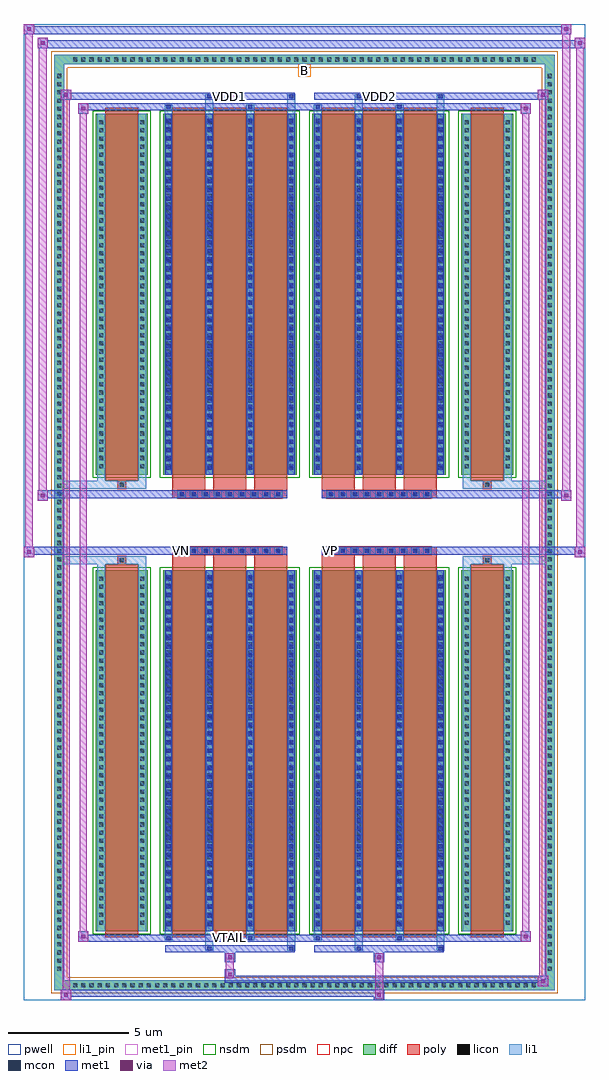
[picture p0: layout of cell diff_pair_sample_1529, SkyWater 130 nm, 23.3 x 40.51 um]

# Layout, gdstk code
import gdstk
lib = gdstk.Library(unit=1e-6, precision=5e-09)
def R(c, l, rs):  # rectangles x0, y0, x1, y1
    for r in rs: c.add(gdstk.rectangle(r[:2], r[2:], *l))
def A(c, l, x, y, w, h, nx, ny, dx, dy):  # array of equal rectangles
    R(c, l, [(x+i*dx, y+j*dy, x+i*dx+w, y+j*dy+h) for i in range(nx) for j in range(ny)])
def P(c, l, *ps):  # polygons
    for p in ps: c.add(gdstk.Polygon(p, *l))
pwell = (64, 44)
diff = (65, 20)
poly = (66, 20)
licon = (66, 44)
li1_pin = (67, 16)
li1 = (67, 20)
mcon = (67, 44)
met1_pin = (68, 16)
met1 = (68, 20)
via = (68, 44)
met2 = (69, 20)
nsdm = (93, 44)
psdm = (94, 20)
npc = (95, 20)

diff_pair_sample_1529 = lib.new_cell('diff_pair_sample_1529')
R(diff_pair_sample_1529, pwell, [(-11.65,-19.82,11.65,20.69), (-8.97,-18.01,-0.01,-0.805), (0.01,-18.01,8.97,-0.805), (-8.97,0.805,-0.01,18.01), (0.01,0.805,8.97,18.01)])
A(diff_pair_sample_1529, diff, -9.725, -19.42, 0.41, 0.41, 57, 2, 0.34, 38.43)
A(diff_pair_sample_1529, diff, -10.38, -18.735, 0.41, 0.41, 1, 110, 0, 0.34)
A(diff_pair_sample_1529, diff, 9.97, -18.735, 0.41, 0.41, 1, 110, 0, 0.34)
R(diff_pair_sample_1529, diff, [(-9.725,-19.42,9.725,-19.01), (-10.38,-18.735,-9.97,18.735), (9.97,-18.735,10.38,18.735), (-8.66,-16.965,-6.51,-1.985), (-5.87,-16.965,-0.32,-1.985), (0.32,-16.965,5.87,-1.985), (6.51,-16.965,8.66,-1.985), (-8.66,1.985,-6.51,16.965), (-5.87,1.985,-0.32,16.965), (0.32,1.985,5.87,16.965), (6.51,1.985,8.66,16.965), (-9.725,19.01,9.725,19.42)])
P(diff_pair_sample_1529, diff, [(10.38,19.42),(-10.38,19.42),(-10.38,-19.01),(-9.97,-19.01),(-9.97,19.01),(9.97,19.01),(9.97,-19.01),(-9.97,-19.01),(-10.38,-19.01),(-10.38,-19.42),(10.38,-19.42)])
A(diff_pair_sample_1529, poly, -5.48, -17.215, 1.37, 15.48, 3, 2, 1.7, 18.95)
A(diff_pair_sample_1529, poly, 0.71, -17.215, 1.37, 15.48, 3, 2, 1.7, 18.95)
A(diff_pair_sample_1529, poly, -5.48, -1.735, 1.37, 0.4, 3, 2, 1.7, 3.07)
A(diff_pair_sample_1529, poly, 0.71, -1.735, 1.37, 0.4, 3, 2, 1.7, 3.07)
A(diff_pair_sample_1529, poly, -5.26, -1.335, 0.33, 0.33, 9, 2, 0.5, 2.34)
A(diff_pair_sample_1529, poly, 0.93, -1.335, 0.33, 0.33, 9, 2, 0.5, 2.34)
R(diff_pair_sample_1529, poly, [(-8.27,-17.215,-6.9,-1.735), (6.9,-17.215,8.27,-1.735), (-7.75,-1.735,-7.42,-1.405), (-7.75,-1.735,-7.42,-1.405), (7.42,-1.735,7.75,-1.405), (7.42,-1.735,7.75,-1.405), (-5.48,-1.335,-0.71,-1.005), (0.71,-1.335,5.48,-1.005), (-5.48,1.005,-0.71,1.335), (0.71,1.005,5.48,1.335), (-7.75,1.405,-7.42,1.735), (-7.75,1.405,-7.42,1.735), (7.42,1.405,7.75,1.735), (7.42,1.405,7.75,1.735), (-8.27,1.735,-6.9,17.215), (6.9,1.735,8.27,17.215)])
A(diff_pair_sample_1529, licon, -9.605, -19.3, 0.17, 0.17, 57, 2, 0.34, 38.43)
A(diff_pair_sample_1529, licon, -10.26, -18.615, 0.17, 0.17, 1, 110, 0, 0.34)
A(diff_pair_sample_1529, licon, 10.09, -18.615, 0.17, 0.17, 1, 110, 0, 0.34)
A(diff_pair_sample_1529, licon, -8.52, -16.7, 0.17, 0.17, 1, 43, 0, 0.34)
A(diff_pair_sample_1529, licon, -6.82, -16.7, 0.17, 0.17, 1, 43, 0, 0.34)
A(diff_pair_sample_1529, licon, -5.73, -16.7, 0.17, 0.17, 4, 43, 1.7, 0.34)
A(diff_pair_sample_1529, licon, 0.46, -16.7, 0.17, 0.17, 4, 43, 1.7, 0.34)
A(diff_pair_sample_1529, licon, 6.65, -16.7, 0.17, 0.17, 1, 43, 0, 0.34)
A(diff_pair_sample_1529, licon, 8.35, -16.7, 0.17, 0.17, 1, 43, 0, 0.34)
A(diff_pair_sample_1529, licon, -5.18, -1.255, 0.17, 0.17, 9, 2, 0.5, 2.34)
A(diff_pair_sample_1529, licon, 1.01, -1.255, 0.17, 0.17, 9, 2, 0.5, 2.34)
A(diff_pair_sample_1529, licon, -8.52, 2.25, 0.17, 0.17, 1, 43, 0, 0.34)
A(diff_pair_sample_1529, licon, -6.82, 2.25, 0.17, 0.17, 1, 43, 0, 0.34)
A(diff_pair_sample_1529, licon, -5.73, 2.25, 0.17, 0.17, 4, 43, 1.7, 0.34)
A(diff_pair_sample_1529, licon, 0.46, 2.25, 0.17, 0.17, 4, 43, 1.7, 0.34)
A(diff_pair_sample_1529, licon, 6.65, 2.25, 0.17, 0.17, 1, 43, 0, 0.34)
A(diff_pair_sample_1529, licon, 8.35, 2.25, 0.17, 0.17, 1, 43, 0, 0.34)
R(diff_pair_sample_1529, licon, [(-7.67,-1.655,-7.5,-1.485), (7.5,-1.655,7.67,-1.485), (-7.67,1.485,-7.5,1.655), (7.5,1.485,7.67,1.655)])
R(diff_pair_sample_1529, li1_pin, [(-0.25,18.51,0.25,19.01)])
A(diff_pair_sample_1529, li1, -9.685, -19.38, 0.33, 0.33, 57, 2, 0.34, 38.43)
A(diff_pair_sample_1529, li1, -10.34, -18.695, 0.33, 0.33, 1, 110, 0, 0.34)
A(diff_pair_sample_1529, li1, 10.01, -18.695, 0.33, 0.33, 1, 110, 0, 0.34)
A(diff_pair_sample_1529, li1, -5.81, -16.965, 0.33, 14.98, 4, 2, 1.7, 18.95)
A(diff_pair_sample_1529, li1, 0.38, -16.965, 0.33, 14.98, 4, 2, 1.7, 18.95)
A(diff_pair_sample_1529, li1, -8.6, -16.78, 0.33, 0.33, 1, 43, 0, 0.34)
A(diff_pair_sample_1529, li1, -6.9, -16.78, 0.33, 0.33, 1, 43, 0, 0.34)
A(diff_pair_sample_1529, li1, -5.81, -16.78, 0.33, 0.33, 4, 43, 1.7, 0.34)
A(diff_pair_sample_1529, li1, 0.38, -16.78, 0.33, 0.33, 4, 43, 1.7, 0.34)
A(diff_pair_sample_1529, li1, 6.57, -16.78, 0.33, 0.33, 1, 43, 0, 0.34)
A(diff_pair_sample_1529, li1, 8.27, -16.78, 0.33, 0.33, 1, 43, 0, 0.34)
A(diff_pair_sample_1529, li1, -5.73, -16.76, 0.17, 0.17, 4, 41, 1.7, 0.36)
A(diff_pair_sample_1529, li1, -5.73, -16.76, 0.17, 14.57, 4, 2, 1.7, 18.95)
A(diff_pair_sample_1529, li1, 0.46, -16.76, 0.17, 0.17, 4, 41, 1.7, 0.36)
A(diff_pair_sample_1529, li1, 0.46, -16.76, 0.17, 14.57, 4, 2, 1.7, 18.95)
A(diff_pair_sample_1529, li1, -5.26, -1.335, 0.33, 0.33, 9, 2, 0.5, 2.34)
A(diff_pair_sample_1529, li1, 0.93, -1.335, 0.33, 0.33, 9, 2, 0.5, 2.34)
A(diff_pair_sample_1529, li1, -8.6, 2.17, 0.33, 0.33, 1, 43, 0, 0.34)
A(diff_pair_sample_1529, li1, -6.9, 2.17, 0.33, 0.33, 1, 43, 0, 0.34)
A(diff_pair_sample_1529, li1, -5.81, 2.17, 0.33, 0.33, 4, 43, 1.7, 0.34)
A(diff_pair_sample_1529, li1, 0.38, 2.17, 0.33, 0.33, 4, 43, 1.7, 0.34)
A(diff_pair_sample_1529, li1, 6.57, 2.17, 0.33, 0.33, 1, 43, 0, 0.34)
A(diff_pair_sample_1529, li1, 8.27, 2.17, 0.33, 0.33, 1, 43, 0, 0.34)
A(diff_pair_sample_1529, li1, -5.73, 2.19, 0.17, 0.17, 4, 41, 1.7, 0.36)
A(diff_pair_sample_1529, li1, 0.46, 2.19, 0.17, 0.17, 4, 41, 1.7, 0.36)
R(diff_pair_sample_1529, li1, [(-10.38,-19.42,-9.97,-19.01), (-10.38,-19.42,-9.97,-19.01), (-9.97,-19.42,9.97,-19.01), (9.97,-19.42,10.38,-19.01), (9.97,-19.42,10.38,-19.01), (-10.38,-19.01,-9.97,19.01), (9.97,-19.01,10.38,19.01), (-4.11,-17.77,-3.78,-16.965), (-4.03,-17.77,-3.86,-17.6), (-0.71,-17.77,-0.38,-16.965), (-0.63,-17.77,-0.46,-17.6), (2.08,-17.77,2.41,-16.965), (2.16,-17.77,2.33,-17.6), (5.48,-17.77,5.81,-16.965), (5.56,-17.77,5.73,-17.6), (-5.81,-17.34,-5.48,-16.965), (-5.73,-17.34,-5.56,-17.17), (-2.41,-17.34,-2.08,-16.965), (-2.33,-17.34,-2.16,-17.17), (0.38,-17.34,0.71,-16.965), (0.46,-17.34,0.63,-17.17), (3.78,-17.34,4.11,-16.965), (3.86,-17.34,4.03,-17.17), (-8.6,-16.965,-8.27,-1.985), (-6.9,-16.965,-6.57,-1.985), (6.57,-16.965,6.9,-1.985), (8.27,-16.965,8.6,-1.985), (-8.6,-1.985,-8.27,-1.405), (-6.9,-1.985,-6.57,-1.405), (6.57,-1.985,6.9,-1.405), (8.27,-1.985,8.6,-1.405), (-10.38,-1.735,-7.75,-1.405), (-8.6,-1.735,-7.75,-1.405), (-7.75,-1.735,-7.42,-1.405), (-7.42,-1.735,-6.57,-1.405), (6.57,-1.735,7.42,-1.405), (7.42,-1.735,7.75,-1.405), (7.42,-1.735,10.38,-1.405), (7.75,-1.735,8.6,-1.405), (-10.38,1.405,-7.75,1.735), (-8.6,1.405,-7.75,1.735), (-8.6,1.405,-8.27,1.985), (-7.75,1.405,-7.42,1.735), (-7.42,1.405,-6.57,1.735), (-6.9,1.405,-6.57,1.985), (6.57,1.405,7.42,1.735), (6.57,1.405,6.9,1.985), (7.42,1.405,7.75,1.735), (7.42,1.405,10.38,1.735), (7.75,1.405,8.6,1.735), (8.27,1.405,8.6,1.985), (-8.6,1.985,-8.27,16.965), (-6.9,1.985,-6.57,16.965), (6.57,1.985,6.9,16.965), (8.27,1.985,8.6,16.965), (-5.81,16.965,-5.48,17.34), (-4.11,16.965,-3.78,17.77), (-2.41,16.965,-2.08,17.34), (-0.71,16.965,-0.38,17.77), (0.38,16.965,0.71,17.34), (2.08,16.965,2.41,17.77), (3.78,16.965,4.11,17.34), (5.48,16.965,5.81,17.77), (-5.73,17.17,-5.56,17.34), (-2.33,17.17,-2.16,17.34), (0.46,17.17,0.63,17.34), (3.86,17.17,4.03,17.34), (-4.03,17.6,-3.86,17.77), (-0.63,17.6,-0.46,17.77), (2.16,17.6,2.33,17.77), (5.56,17.6,5.73,17.77), (-10.38,19.01,-9.97,19.42), (-10.38,19.01,-9.97,19.42), (-9.97,19.01,9.97,19.42), (9.97,19.01,10.38,19.42), (9.97,19.01,10.38,19.42)])
A(diff_pair_sample_1529, mcon, -5.73, -16.76, 0.17, 0.17, 4, 41, 1.7, 0.36)
A(diff_pair_sample_1529, mcon, 0.46, -16.76, 0.17, 0.17, 4, 41, 1.7, 0.36)
A(diff_pair_sample_1529, mcon, -5.18, -1.255, 0.17, 0.17, 9, 2, 0.5, 2.34)
A(diff_pair_sample_1529, mcon, 1.01, -1.255, 0.17, 0.17, 9, 2, 0.5, 2.34)
A(diff_pair_sample_1529, mcon, -5.73, 2.19, 0.17, 0.17, 4, 41, 1.7, 0.36)
A(diff_pair_sample_1529, mcon, 0.46, 2.19, 0.17, 0.17, 4, 41, 1.7, 0.36)
R(diff_pair_sample_1529, mcon, [(-4.03,-17.77,-3.86,-17.6), (-0.63,-17.77,-0.46,-17.6), (2.16,-17.77,2.33,-17.6), (5.56,-17.77,5.73,-17.6), (-5.73,-17.34,-5.56,-17.17), (-2.33,-17.34,-2.16,-17.17), (0.46,-17.34,0.63,-17.17), (3.86,-17.34,4.03,-17.17), (-5.73,17.17,-5.56,17.34), (-2.33,17.17,-2.16,17.34), (0.46,17.17,0.63,17.34), (3.86,17.17,4.03,17.34), (-4.03,17.6,-3.86,17.77), (-0.63,17.6,-0.46,17.77), (2.16,17.6,2.33,17.77), (5.56,17.6,5.73,17.77)])
R(diff_pair_sample_1529, met1_pin, [(-3.23,-17.38,-2.96,-17.11), (-5.23,-1.295,-4.96,-1.025), (0.96,-1.295,1.23,-1.025), (-3.23,17.56,-2.96,17.83), (2.96,17.56,3.23,17.83)])
A(diff_pair_sample_1529, met1, -5.79, -16.965, 0.29, 14.98, 4, 2, 1.7, 18.95)
A(diff_pair_sample_1529, met1, 0.4, -16.965, 0.29, 14.98, 4, 2, 1.7, 18.95)
A(diff_pair_sample_1529, met1, -5.79, -16.82, 0.29, 0.29, 4, 41, 1.7, 0.36)
A(diff_pair_sample_1529, met1, 0.4, -16.82, 0.29, 0.29, 4, 41, 1.7, 0.36)
A(diff_pair_sample_1529, met1, -5.24, -1.315, 0.29, 0.29, 9, 2, 0.5, 2.34)
A(diff_pair_sample_1529, met1, 0.95, -1.315, 0.29, 0.29, 9, 2, 0.5, 2.34)
A(diff_pair_sample_1529, met1, -5.79, 2.13, 0.29, 0.29, 4, 41, 1.7, 0.36)
A(diff_pair_sample_1529, met1, 0.4, 2.13, 0.29, 0.29, 4, 41, 1.7, 0.36)
R(diff_pair_sample_1529, met1, [(-10.11,-19.82,-9.68,-19.39), (2.88,-19.82,3.31,-19.39), (-10.11,-19.68,3.31,-19.39), (9.68,-19.25,10.11,-18.82), (-3.31,-19.11,10.11,-18.82), (-3.31,-18.97,-2.88,-18.54), (-3.31,-18.26,-2.88,-17.83), (2.88,-18.26,3.31,-17.83), (-5.79,-17.83,-0.4,-17.54), (-4.09,-17.83,-3.8,-17.54), (-0.69,-17.83,-0.4,-17.54), (0.4,-17.83,5.79,-17.54), (2.1,-17.83,2.39,-17.54), (5.5,-17.83,5.79,-17.54), (-9.4,-17.4,-8.97,-16.97), (-9.4,-17.4,-5.79,-17.11), (-5.79,-17.4,-5.5,-17.11), (-5.79,-17.4,-0.4,-17.11), (-2.39,-17.4,-2.1,-17.11), (-0.4,-17.4,0.4,-17.11), (0.4,-17.4,0.69,-17.11), (0.4,-17.4,5.79,-17.11), (3.8,-17.4,4.09,-17.11), (5.79,-17.4,9.4,-17.11), (8.97,-17.4,9.4,-16.97), (-11.65,-1.435,-11.22,-1.005), (11.22,-1.435,11.65,-1.005), (-11.65,-1.335,-0.71,-1.005), (-5.48,-1.335,-0.71,-1.005), (0.71,-1.335,5.48,-1.005), (0.71,-1.335,11.65,-1.005), (-11.08,0.905,-10.65,1.335), (10.65,0.905,11.08,1.335), (-11.08,1.005,-5.48,1.335), (-5.48,1.005,-0.71,1.335), (0.71,1.005,5.48,1.335), (5.48,1.005,11.08,1.335), (-9.4,16.97,-8.97,17.4), (8.97,16.97,9.4,17.4), (-9.4,17.11,-5.79,17.4), (-5.79,17.11,-5.5,17.4), (-5.79,17.11,-0.4,17.4), (-2.39,17.11,-2.1,17.4), (-0.4,17.11,0.4,17.4), (0.4,17.11,0.69,17.4), (0.4,17.11,5.79,17.4), (3.8,17.11,4.09,17.4), (5.79,17.11,9.4,17.4), (-10.11,17.54,-9.68,17.97), (-10.11,17.54,-5.79,17.83), (-5.79,17.54,-0.4,17.83), (-4.09,17.54,-3.8,17.83), (-0.69,17.54,-0.4,17.83), (0.4,17.54,5.79,17.83), (2.1,17.54,2.39,17.83), (5.5,17.54,5.79,17.83), (5.79,17.54,10.11,17.83), (9.68,17.54,10.11,17.97), (-11.08,19.69,-10.65,20.12), (-11.08,19.69,-8.97,20.02), (-8.97,19.69,8.97,20.02), (8.97,19.69,11.65,20.02), (11.22,19.69,11.65,20.12), (-11.65,20.26,-11.22,20.69), (-11.65,20.26,-8.97,20.59), (-8.97,20.26,8.97,20.59), (8.97,20.26,11.08,20.59), (10.65,20.26,11.08,20.69)])
R(diff_pair_sample_1529, via, [(-9.97,-19.68,-9.82,-19.53), (3.02,-19.68,3.17,-19.53), (9.82,-19.11,9.97,-18.96), (-3.17,-18.83,-3.02,-18.68), (-3.17,-18.12,-3.02,-17.97), (3.02,-18.12,3.17,-17.97), (-9.26,-17.26,-9.11,-17.11), (9.11,-17.26,9.26,-17.11), (-11.51,-1.295,-11.36,-1.145), (11.36,-1.295,11.51,-1.145), (-10.94,1.045,-10.79,1.195), (10.79,1.045,10.94,1.195), (-9.26,17.11,-9.11,17.26), (9.11,17.11,9.26,17.26), (-9.97,17.68,-9.82,17.83), (9.82,17.68,9.97,17.83), (-10.94,19.83,-10.79,19.98), (11.36,19.83,11.51,19.98), (-11.51,20.4,-11.36,20.55), (10.79,20.4,10.94,20.55)])
R(diff_pair_sample_1529, met2, [(-10.11,-19.82,-9.68,-19.39), (-10.04,-19.82,-9.75,17.97), (-9.75,-19.82,-9.68,-19.39), (-10.06,-19.77,-9.73,-19.44), (2.93,-19.77,3.26,-19.44), (2.93,-19.44,3.26,-18.21), (9.68,-19.25,10.11,-18.82), (9.75,-19.25,10.04,17.97), (10.04,-19.25,10.11,-18.82), (9.73,-19.2,10.06,-18.87), (-3.26,-18.92,-2.93,-18.59), (-3.26,-18.59,-2.93,-18.21), (-3.26,-18.21,-2.93,-17.88), (2.93,-18.21,3.26,-17.88), (-9.4,-17.4,-8.97,-16.97), (-9.33,-17.4,-9.04,17.4), (-9.04,-17.4,-8.97,-16.97), (8.97,-17.4,9.4,-16.97), (9.04,-17.4,9.33,17.4), (9.33,-17.4,9.4,-16.97), (-9.35,-17.35,-9.02,-17.02), (9.02,-17.35,9.35,-17.02), (-11.65,-1.435,-11.22,-1.005), (-11.6,-1.435,-11.27,20.69), (-11.27,-1.435,-11.22,-1.005), (11.22,-1.435,11.65,-1.005), (11.27,-1.435,11.6,20.12), (11.6,-1.435,11.65,-1.005), (-11.6,-1.385,-11.27,-1.055), (11.27,-1.385,11.6,-1.055), (-11.08,0.905,-10.65,1.335), (-11.03,0.905,-10.7,20.12), (-10.7,0.905,-10.65,1.335), (10.65,0.905,11.08,1.335), (10.7,0.905,11.03,20.69), (11.03,0.905,11.08,1.335), (-11.03,0.955,-10.7,1.285), (10.7,0.955,11.03,1.285), (-9.4,16.97,-8.97,17.4), (-9.04,16.97,-8.97,17.4), (8.97,16.97,9.4,17.4), (9.33,16.97,9.4,17.4), (-9.35,17.02,-9.02,17.35), (9.02,17.02,9.35,17.35), (-10.11,17.54,-9.68,17.97), (-9.75,17.54,-9.68,17.97), (9.68,17.54,10.11,17.97), (10.04,17.54,10.11,17.97), (-10.06,17.59,-9.73,17.92), (9.73,17.59,10.06,17.92), (-11.08,19.69,-10.65,20.12), (-10.7,19.69,-10.65,20.12), (11.22,19.69,11.65,20.12), (11.6,19.69,11.65,20.12), (-11.03,19.74,-10.7,20.07), (11.27,19.74,11.6,20.07), (-11.65,20.26,-11.22,20.69), (-11.27,20.26,-11.22,20.69), (10.65,20.26,11.08,20.69), (11.03,20.26,11.08,20.69), (-11.6,20.31,-11.27,20.64), (10.7,20.31,11.03,20.64)])
R(diff_pair_sample_1529, nsdm, [(-8.79,-17.095,-6.38,-1.855), (-6,-17.095,-0.19,-1.855), (0.19,-17.095,6,-1.855), (6.38,-17.095,8.79,-1.855), (-8.79,1.855,-6.38,17.095), (-6,1.855,-0.19,17.095), (0.19,1.855,6,17.095), (6.38,1.855,8.79,17.095)])
P(diff_pair_sample_1529, psdm, [(10.51,19.55),(-10.51,19.55),(-10.51,-18.88),(-9.84,-18.88),(-9.84,18.88),(9.84,18.88),(9.84,-18.88),(-9.84,-18.88),(-10.51,-18.88),(-10.51,-19.55),(10.51,-19.55)])
A(diff_pair_sample_1529, npc, -5.28, -1.355, 0.37, 0.37, 9, 2, 0.5, 2.34)
A(diff_pair_sample_1529, npc, 0.91, -1.355, 0.37, 0.37, 9, 2, 0.5, 2.34)
R(diff_pair_sample_1529, npc, [(-7.77,-1.755,-7.4,-1.385), (7.4,-1.755,7.77,-1.385), (-5.28,-1.355,-4.41,-0.985), (-5.28,-1.355,-4.41,-0.985), (-4.78,-1.355,-3.91,-0.985), (-4.78,-1.355,-3.91,-0.985), (-4.28,-1.355,-3.41,-0.985), (-4.28,-1.355,-3.41,-0.985), (-3.78,-1.355,-2.91,-0.985), (-3.78,-1.355,-2.91,-0.985), (-3.28,-1.355,-2.41,-0.985), (-3.28,-1.355,-2.41,-0.985), (-2.78,-1.355,-1.91,-0.985), (-2.78,-1.355,-1.91,-0.985), (-2.28,-1.355,-1.41,-0.985), (-2.28,-1.355,-1.41,-0.985), (-1.78,-1.355,-0.91,-0.985), (-1.78,-1.355,-0.91,-0.985), (0.91,-1.355,1.78,-0.985), (0.91,-1.355,1.78,-0.985), (1.41,-1.355,2.28,-0.985), (1.41,-1.355,2.28,-0.985), (1.91,-1.355,2.78,-0.985), (1.91,-1.355,2.78,-0.985), (2.41,-1.355,3.28,-0.985), (2.41,-1.355,3.28,-0.985), (2.91,-1.355,3.78,-0.985), (2.91,-1.355,3.78,-0.985), (3.41,-1.355,4.28,-0.985), (3.41,-1.355,4.28,-0.985), (3.91,-1.355,4.78,-0.985), (3.91,-1.355,4.78,-0.985), (4.41,-1.355,5.28,-0.985), (4.41,-1.355,5.28,-0.985), (-5.28,0.985,-4.41,1.355), (-5.28,0.985,-4.41,1.355), (-4.78,0.985,-3.91,1.355), (-4.78,0.985,-3.91,1.355), (-4.28,0.985,-3.41,1.355), (-4.28,0.985,-3.41,1.355), (-3.78,0.985,-2.91,1.355), (-3.78,0.985,-2.91,1.355), (-3.28,0.985,-2.41,1.355), (-3.28,0.985,-2.41,1.355), (-2.78,0.985,-1.91,1.355), (-2.78,0.985,-1.91,1.355), (-2.28,0.985,-1.41,1.355), (-2.28,0.985,-1.41,1.355), (-1.78,0.985,-0.91,1.355), (-1.78,0.985,-0.91,1.355), (0.91,0.985,1.78,1.355), (0.91,0.985,1.78,1.355), (1.41,0.985,2.28,1.355), (1.41,0.985,2.28,1.355), (1.91,0.985,2.78,1.355), (1.91,0.985,2.78,1.355), (2.41,0.985,3.28,1.355), (2.41,0.985,3.28,1.355), (2.91,0.985,3.78,1.355), (2.91,0.985,3.78,1.355), (3.41,0.985,4.28,1.355), (3.41,0.985,4.28,1.355), (3.91,0.985,4.78,1.355), (3.91,0.985,4.78,1.355), (4.41,0.985,5.28,1.355), (4.41,0.985,5.28,1.355), (-7.77,1.385,-7.4,1.755), (7.4,1.385,7.77,1.755)])
diff_pair_sample_1529.add(gdstk.Label('VTAIL', (-3.095,-17.245), layer=68, texttype=5))
diff_pair_sample_1529.add(gdstk.Label('VN', (-5.095,-1.16), layer=68, texttype=5))
diff_pair_sample_1529.add(gdstk.Label('VP', (1.095,-1.16), layer=68, texttype=5))
diff_pair_sample_1529.add(gdstk.Label('B', (0,18.76), layer=67, texttype=5))
diff_pair_sample_1529.add(gdstk.Label('VDD2', (3.095,17.695), layer=68, texttype=5))
diff_pair_sample_1529.add(gdstk.Label('VDD1', (-3.095,17.695), layer=68, texttype=5))

lib.write_gds('diff_pair_sample_1529.gds')
